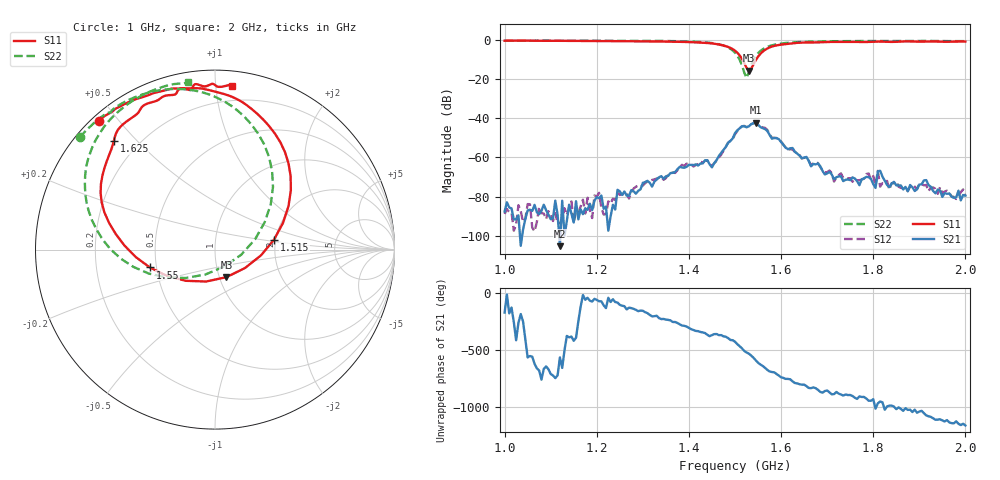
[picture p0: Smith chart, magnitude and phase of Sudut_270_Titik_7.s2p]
# Hz S RI R 50
! CMT, C1220, 16058040, 17.2.0/1
! Date: 14/08/2018 12:16:04
! Data: Format (Calibration Info)
! Freq  S11: Re/Im (F2)  S21: Re/Im (F2)  S12: Re/Im (F2)  S22: Re/Im (F2)
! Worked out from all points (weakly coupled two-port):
!   201 points, 1 GHz to 2 GHz, reference 50 ohm
!   highest |S21| = -42.22 dB at 1.545 GHz (marker M1); lowest = -105.4 dB at 1.12 GHz (marker M2)
!   lowest |S11| = -15.6 dB at 1.53 GHz (marker M3), VSWR 1.40, Z = 54 - j17 ohm
!   |S11| at or under -10 dB: 1.516 GHz to 1.546 GHz (29.77 MHz wide, 1.94 % of centre)
!   |S22| runs from -19.4 to -0.2 dB; largest |S21 - S12| = 0.0004
!   S11 on the Smith chart (normalised r, x): 1 GHz: 0.02, +0.44; 1.515 GHz: 1.96, +0.24; 1.55 GHz: 0.46, -0.11; 1.625 GHz: 0.11, +0.43; 2 GHz: 0.09, +1.11
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1e9  -0.6477 0.7146  -4.12e-05 -5.85e-06  3.54e-05 5.71e-06  -0.7537 0.625
1.12e9  -0.5321 0.7962  -4.9e-06 2.24e-06  9.2e-06 -1.9e-05  -0.664 0.7139
1.17e9  -0.479 0.8228  3.36e-05 -1.11e-05  7.69e-05 -3.17e-05  -0.6167 0.7506
1.27e9  -0.3366 0.8736  -6.58e-05 -8.11e-05  -4.45e-05 -7.66e-05  -0.5088 0.82
1.335e9  -0.2212 0.8974  -0.000235 0.0002  -0.000221 0.000208  -0.4006 0.8654
1.45e9  0.1794 0.8028  0.000549 -9.44e-05  0.000605 -0.000126  0.0248 0.8395
1.5e9  0.4226 0.3304  0.00161 -0.00386  0.00148 -0.00361  0.3232 0.3491
1.515e9  0.3287 0.0553  -0.00362 -0.00507  -0.0035 -0.00521  0.2231 0.0571
1.53e9  0.0638 -0.1535  -0.00617 -0.000912  -0.00619 -0.000916  -0.0541 -0.139
1.545e9  -0.2686 -0.146  -0.00496 0.00595  -0.00503 0.00582  -0.3687 -0.1335
1.55e9  -0.3628 -0.0996  -0.00218 0.00652  -0.0024 0.00642  -0.454 -0.0966
1.625e9  -0.5636 0.605  0.00098 -0.00144  0.000914 -0.0013  -0.7023 0.5192
1.67e9  -0.445 0.7472  -0.000211 -0.00065  -0.000191 -0.000688  -0.6264 0.672
1.715e9  -0.3635 0.8178  -0.000269 -6.53e-05  -0.00023 -7.46e-05  -0.5512 0.7576
1.79e9  -0.215 0.8708  -0.000225 0.000219  -0.000303 0.000245  -0.438 0.8408
1.805e9  -0.2027 0.8908  6.88e-05 0.000151  -4.42e-05 0.000188  -0.4171 0.8537
1.81e9  -0.1959 0.8954  -0.000167 0.000407  -0.000311 0.00033  -0.4103 0.8573
1.815e9  -0.1871 0.897  -0.000285 0.000355  -1.69e-05 0.000178  -0.4032 0.8608
1.835e9  -0.1438 0.8895  -7.59e-06 0.000175  1.97e-05 0.000149  -0.3766 0.8738
1.915e9  -0.0304 0.9179  0.000261 3.26e-05  0.000194 -3.43e-05  -0.2652 0.9143
1.95e9  0.0118 0.909  7.86e-05 -5.82e-05  8.63e-05 -8.55e-05  -0.213 0.9239
2e9  0.0957 0.9135  1.61e-05 -0.000104  2.99e-05 -9.76e-05  -0.1528 0.9331
